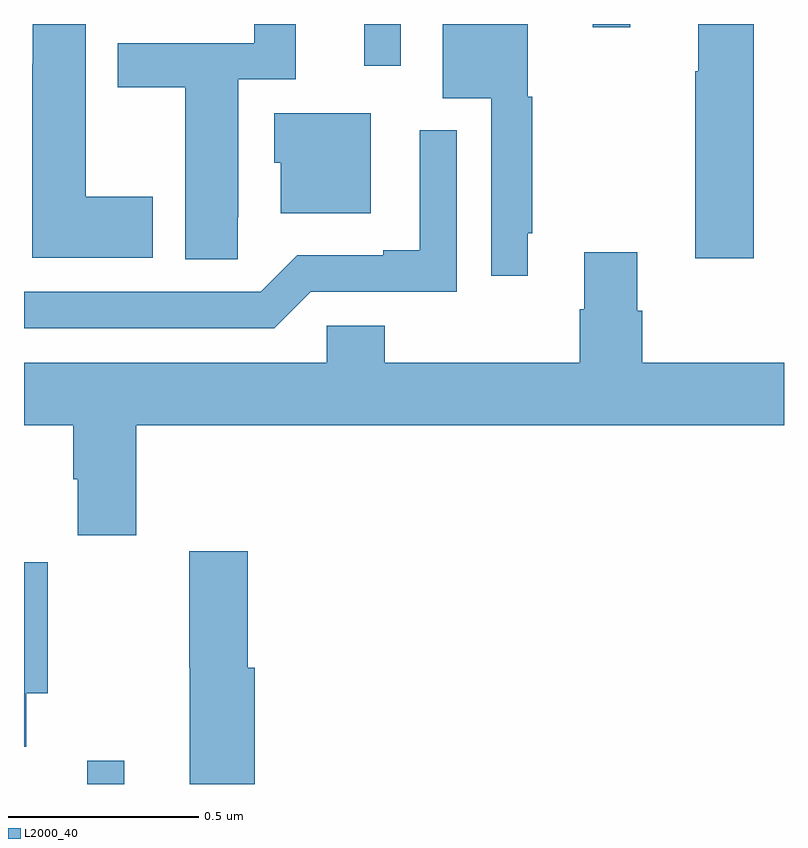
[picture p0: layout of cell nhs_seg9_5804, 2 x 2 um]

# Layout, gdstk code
import gdstk
lib = gdstk.Library(unit=1e-6, precision=1e-09)
def R(c, l, rs):  # rectangles x0, y0, x1, y1
    for r in rs: c.add(gdstk.rectangle(r[:2], r[2:], *l))
def P(c, l, *ps):  # polygons
    for p in ps: c.add(gdstk.Polygon(p, *l))
L2000_40 = (2000, 40)

nhs_seg9_5804 = lib.new_cell('nhs_seg9_5804')
R(nhs_seg9_5804, L2000_40, [(184.166,1171.5,184.264,1171.561), (184.895,1173.39,184.992,1173.5), (185.497,1173.492,185.596,1173.5)])
P(nhs_seg9_5804, L2000_40, [(185.326,1172.95),(185.338,1172.95),(185.338,1173.309),(185.326,1173.309),(185.326,1173.5),(185.102,1173.5),(185.102,1173.305),(185.229,1173.305),(185.229,1172.838),(185.326,1172.838)],
  [(185.921,1173.5),(185.774,1173.5),(185.774,1173.376),(185.767,1173.376),(185.767,1172.883),(185.921,1172.883)],
  [(184.563,1172.992),(184.564,1172.992),(184.564,1173.354),(184.715,1173.354),(184.715,1173.5),(184.606,1173.5),(184.606,1173.45),(184.247,1173.45),(184.247,1173.334),(184.424,1173.334),(184.424,1172.881),(184.563,1172.881)],
  [(184.339,1173.045),(184.162,1173.045),(184.162,1173.5),(184.023,1173.5),(184.023,1173.395),(184.022,1173.395),(184.022,1172.885),(184.339,1172.885)],
  [(184.912,1173.265),(184.658,1173.265),(184.658,1173.135),(184.676,1173.135),(184.676,1173.002),(184.912,1173.002)],
  [(184.755,1172.796),(185.139,1172.796),(185.139,1173.22),(185.042,1173.22),(185.042,1172.905),(184.946,1172.905),(184.946,1172.892),(184.719,1172.892),(184.623,1172.796),(184,1172.796),(184,1172.7),(184.659,1172.7)],
  [(184.295,1172.444),(186,1172.444),(186,1172.608),(185.627,1172.608),(185.627,1172.745),(185.614,1172.745),(185.614,1172.899),(185.474,1172.899),(185.474,1172.75),(185.462,1172.75),(185.462,1172.608),(184.949,1172.608),(184.949,1172.706),(184.797,1172.706),(184.797,1172.608),(184,1172.608),(184,1172.444),(184.13,1172.444),(184.13,1172.302),(184.142,1172.302),(184.142,1172.154),(184.295,1172.154)],
  [(184.607,1171.806),(184.589,1171.806),(184.589,1172.113),(184.435,1172.113),(184.435,1171.806),(184.436,1171.806),(184.436,1171.5),(184.607,1171.5)],
  [(184.006,1171.739),(184.062,1171.739),(184.062,1172.083),(184,1172.083),(184,1171.598),(184.006,1171.598)])

lib.write_gds('nhs_seg9_5804.gds')
